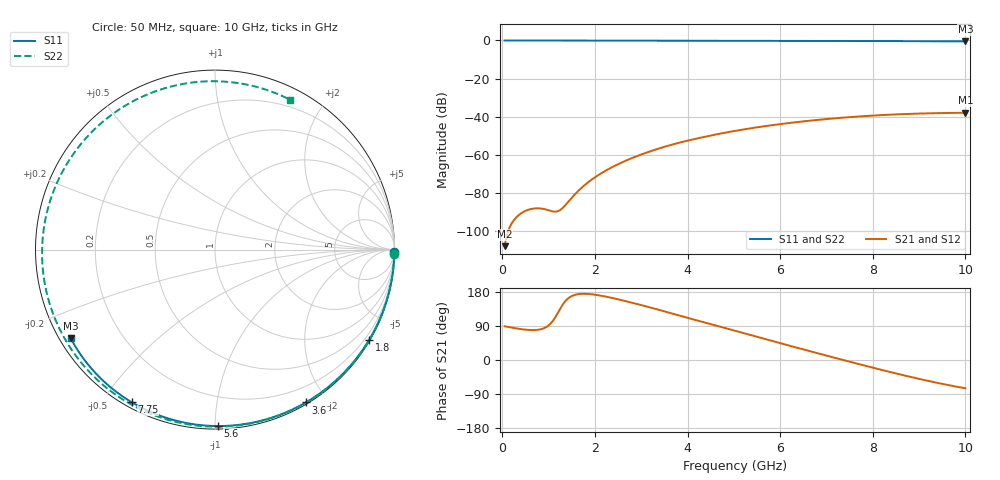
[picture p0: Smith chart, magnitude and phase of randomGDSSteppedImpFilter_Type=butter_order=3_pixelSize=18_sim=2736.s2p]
! freq	dB(S11)	phase(S11)	dB(S12)	phase(S12)
!  dB(S21)	phase(S21)	dB(S22)	phase(S22)
!S-par simulation data
#  GHz  S  DB  R 50
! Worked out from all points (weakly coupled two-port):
!   200 points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, 50 MHz to 10 GHz, reference 50 ohm
!   highest |S21| = -37.87 dB at 10 GHz (marker M1); lowest = -107.8 dB at 50 MHz (marker M2)
!   lowest |S11| = -0.5 dB at 10 GHz (marker M3), VSWR 34.52, Z = 1.56 - j14.1 ohm
!   |S11| at or under -10 dB: nowhere
!   |S22| runs from -0.6 to 0.0 dB; largest |S21 - S12| = 0
!   S11 on the Smith chart (normalised r, x): 50 MHz: open; 1.8 GHz: 0.03, -3.68; 3.6 GHz: 0.02, -1.76; 5.6 GHz: 0.02, -1.02; 7.75 GHz: 0.02, -0.59; 10 GHz: 0.03, -0.28
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0.05  -0.00 -0.9  -107.80 89.0  -107.80 89.0  -0.00 -1.5
0.75  -0.02 -12.8  -87.96 79.5  -87.96 79.5  -0.03 -22.1
1.55  -0.03 -26.2  -81.09 171.2  -81.09 171.2  -0.06 -45.3
1.6  -0.03 -27.1  -79.82 172.9  -79.82 172.9  -0.06 -46.7
1.75  -0.04 -29.5  -76.39 174.7  -76.39 174.7  -0.06 -51.0
1.8  -0.04 -30.4  -75.37 174.6  -75.37 174.6  -0.07 -52.4
2.1  -0.05 -35.3  -70.15 170.4  -70.15 170.4  -0.08 -60.8
2.45  -0.05 -41.0  -65.44 161.6  -65.44 161.6  -0.09 -70.5
3.4  -0.07 -56.1  -56.47 131.8  -56.47 131.8  -0.13 -96.3
3.6  -0.08 -59.2  -55.02 125.1  -55.02 125.1  -0.13 -101.6
4.3  -0.10 -69.9  -50.87 101.4  -50.87 101.4  -0.17 -120.1
5.05  -0.12 -81.0  -47.28 76.3  -47.28 76.3  -0.21 -139.8
5.6  -0.15 -89.0  -45.16 57.8  -45.16 57.8  -0.25 -154.5
6.15  -0.17 -96.8  -43.38 39.5  -43.38 39.5  -0.29 -169.5
6.7  -0.20 -104.4  -41.89 21.4  -41.89 21.4  -0.34 174.9
7.25  -0.24 -111.9  -40.66 3.5  -40.66 3.5  -0.39 158.6
7.75  -0.28 -118.6  -39.75 -12.4  -39.75 -12.4  -0.43 143.0
8.35  -0.33 -126.6  -38.92 -30.9  -38.92 -30.9  -0.49 123.1
8.8  -0.37 -132.6  -38.47 -44.2  -38.47 -44.2  -0.52 107.4
9.2  -0.41 -137.9  -38.19 -55.2  -38.19 -55.2  -0.55 93.0
9.6  -0.45 -143.2  -38.00 -65.5  -38.00 -65.5  -0.57 78.2
10  -0.50 -148.5  -37.87 -74.7  -37.87 -74.7  -0.59 63.3
